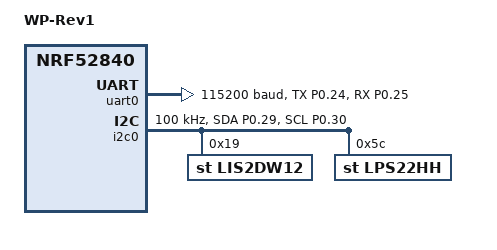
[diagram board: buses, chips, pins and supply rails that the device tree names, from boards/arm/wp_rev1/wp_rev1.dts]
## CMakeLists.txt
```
# SPDX-License-Identifier: Apache-2.0

cmake_minimum_required(VERSION 3.20.0)
find_package(Zephyr REQUIRED HINTS $ENV{ZEPHYR_BASE})
project(beacon)

target_sources(app PRIVATE src/main.c src/app_fram.c src/app_encryption.c src/app_accel.c src/app_temp_pressure.c)
```

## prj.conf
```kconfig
CONFIG_SERIAL=n
CONFIG_CONSOLE=n
CONFIG_UART_CONSOLE=n
CONFIG_USE_SEGGER_RTT=n
CONFIG_BT=y
CONFIG_BT_HCI=y
CONFIG_BT_CTLR=y
CONFIG_BT_CTLR_TX_PWR_PLUS_8=y
CONFIG_BT_DEBUG_LOG=n
CONFIG_BT_DEVICE_NAME="WePower"
CONFIG_CLOCK_CONTROL_NRF_K32SRC_RC=y
CONFIG_CLOCK_CONTROL_NRF_K32SRC_XTAL=n
#CONFIG_BOARD_ENABLE_DCDC=y
# From Nordic to disable Crypto RNG
CONFIG_HW_CC3XX=n
CONFIG_ENTROPY_CC3XX=n
CONFIG_ENTROPY_NRF5_RNG=y
CONFIG_CC3XX_BACKEND=n
# Software Crypto with Mbed
CONFIG_MBEDTLS=y
CONFIG_MBEDTLS_BUILTIN=y
CONFIG_MBEDTLS_HEAP_SIZE=512
CONFIG_MBEDTLS_CIPHER_CCM_ENABLED=y
CONFIG_MBEDTLS_CIPHER_GCM_ENABLED=y
CONFIG_CRYPTO=y
CONFIG_CRYPTO_MBEDTLS_SHIM=y
# GPIO
CONFIG_GPIO=y
# I2C
CONFIG_I2C=y
CONFIG_I2C_NRFX=y
CONFIG_NRFX_TWIM0=y
CONFIG_SENSOR=y
CONFIG_LIS2DW12=y
CONFIG_LPS22HH=y
CONFIG_LPS22HH_TRIGGER_NONE=n
CONFIG_CBPRINTF_FP_SUPPORT=y
```

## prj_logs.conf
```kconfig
CONFIG_SERIAL=y
CONFIG_CONSOLE=y
CONFIG_UART_CONSOLE=y
CONFIG_RTT_CONSOLE=n
CONFIG_USE_SEGGER_RTT=n
CONFIG_LOG=y
CONFIG_STDOUT_CONSOLE=y
CONFIG_LOG_MODE_DEFERRED=y
CONFIG_BT=y
CONFIG_BT_HCI=y
CONFIG_BT_CTLR=y
CONFIG_BT_CTLR_TX_PWR_PLUS_8=y
CONFIG_BT_DEBUG_LOG=y
CONFIG_BT_DEVICE_NAME="WePower"
CONFIG_CLOCK_CONTROL_NRF_K32SRC_RC=y
CONFIG_CLOCK_CONTROL_NRF_K32SRC_XTAL=n
#CONFIG_BOARD_ENABLE_DCDC=y
# From Nordic to disable Crypto RNG
CONFIG_HW_CC3XX=n
CONFIG_ENTROPY_CC3XX=n
CONFIG_ENTROPY_NRF5_RNG=y
CONFIG_CC3XX_BACKEND=n
# Software Crypto with Mbed
CONFIG_MBEDTLS=y
CONFIG_MBEDTLS_BUILTIN=y
CONFIG_MBEDTLS_HEAP_SIZE=512
CONFIG_MBEDTLS_CIPHER_CCM_ENABLED=y
# CONFIG_MBEDTLS_CIPHER_GCM_ENABLED=y
CONFIG_CRYPTO=y
CONFIG_CRYPTO_MBEDTLS_SHIM=y
# GPIO
CONFIG_GPIO=y
# I2C
CONFIG_I2C=y
CONFIG_I2C_NRFX=y
CONFIG_NRFX_TWIM0=y
CONFIG_I2C_LOG_LEVEL_DBG=y
CONFIG_SENSOR=y
CONFIG_LIS2DW12=y
CONFIG_LPS22HH=y
CONFIG_LPS22HH_TRIGGER_NONE=n
CONFIG_CBPRINTF_FP_SUPPORT=y
```

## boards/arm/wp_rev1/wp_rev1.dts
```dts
// Copyright (c) 2022 Nordic Semiconductor ASA
// SPDX-License-Identifier: Apache-2.0

/dts-v1/;
#include <nordic/nrf52840_qiaa.dtsi>

/ {
	model = "WP-Rev1";
	compatible = "nordic,wepower,wp-rev1";

	chosen {
        zephyr,console = &uart0;
		zephyr,shell-uart = &uart0;
		zephyr,uart-mcumgr = &uart0;
		zephyr,bt-mon-uart = &uart0;
		zephyr,bt-c2h-uart = &uart0;
		zephyr,sram = &sram0;
		zephyr,flash = &flash0;
		zephyr,code-partition = &slot0_partition;
        zephyr,entropy = &rng;
        zephyr,i2c = &i2c0;
	};
};

&pinctrl {
	uart0_default: uart0_default {
		group1 {
			psels = <NRF_PSEL(UART_TX, 0, 24)>, <NRF_PSEL(UART_RX, 0, 25)>;
		};
	};

	uart0_sleep: uart0_sleep {
		group1 {
			psels = <NRF_PSEL(UART_TX, 0, 24)>, <NRF_PSEL(UART_RX, 0, 25)>;
			low-power-enable;
		};
	};

	i2c0_default: i2c0_default {
		group1 {
            psels = <NRF_PSEL(TWIM_SDA, 0, 29)>, <NRF_PSEL(TWIM_SCL, 0, 30)>;
		};
	};

	i2c0_sleep: i2c0_sleep {
		group1 {
            psels = <NRF_PSEL(TWIM_SDA, 0, 29)>, <NRF_PSEL(TWIM_SCL, 0, 30)>;
		};
	};
};

&flash0 {
	partitions {
		compatible = "fixed-partitions";
		#address-cells = <1>;
		#size-cells = <1>;

		boot_partition: partition@0 {
			label = "mcuboot";
			reg = <0x00000000 0x0000C000>;
		};
		slot0_partition: partition@c000 {
			label = "image-0";
			reg = <0x0000C000 0x00067000>;
		};
		slot1_partition: partition@73000 {
			label = "image-1";
			reg = <0x00073000 0x00067000>;
		};
		scratch_partition: partition@da000 {
			label = "image-scratch";
			reg = <0x000da000 0x0001e000>;
		};

		/*
		 * The flash starting at 0x000f8000 and ending at
		 * 0x000fffff is reserved for use by the application.
		 */

		/*
		 * Storage partition will be used by FCB/LittleFS/NVS
		 * if enabled.
		 */
		storage_partition: partition@f8000 {
			label = "storage";
			reg = <0x000f8000 0x00008000>;
		};
	};
};

&adc {
	status = "disabled";
};

&gpiote {
	status = "okay";
};

&gpio0 {
	status = "okay";
};

&gpio1 {
	status = "okay";
};

&uart0 {
	compatible = "nordic,nrf-uarte";
	status = "okay";
	current-speed = <115200>;
	pinctrl-0 = <&uart0_default>;
	pinctrl-1 = <&uart0_sleep>;
	pinctrl-names = "default", "sleep";
};

&i2c0 {
	compatible = "nordic,nrf-twim";
	status = "okay";
    clock-frequency = <I2C_BITRATE_STANDARD>;
	pinctrl-0 = <&i2c0_default>;
	pinctrl-1 = <&i2c0_sleep>;
	pinctrl-names = "default", "sleep";

    accel: lis2dw12@19 {
        compatible = "st,lis2dw12";
        reg = <0x19>;
        status = "okay";
        label = "LIS2DW12";
    };

    temp_pressure: st_lps22hh@5c {
        compatible = "st,lps22hh";
        reg = <0x5c>;
        status = "okay";
        label = "LPS22HH";
    };
};
```

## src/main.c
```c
/* main.c - Application main entry point */

/*
 * Copyright (c) 2015-2016 Intel Corporation
 *
 * SPDX-License-Identifier: Apache-2.0
 */

#include <zephyr/kernel.h>
#include <zephyr/device.h>
#include <zephyr/devicetree.h>
#include <zephyr/drivers/sensor.h>
#include <zephyr/types.h>
#include <zephyr/logging/log.h>
#include <stdio.h>
#include <stddef.h>
#include <string.h>
#include <zephyr/sys/printk.h>
#include <zephyr/sys/util.h>
#include <zephyr/sys/util_macro.h>
#include <zephyr/drivers/i2c.h>
#include <zephyr/bluetooth/bluetooth.h>
#include <zephyr/bluetooth/hci.h>
#include <stdlib.h>
#include <math.h>

#include "app_types.h"
#include "app_fram.h"
#include "app_encryption.h"
#include "app_accel.h"
#include "app_temp_pressure.h"


#define DEVICE_NAME CONFIG_BT_DEVICE_NAME
#define DEVICE_NAME_LEN (sizeof(DEVICE_NAME) - 1)

#define MANUF_DATA_CUSTOM_START_INDEX 2
#define PAYLOAD_DEVICE_ID_INDEX 18
#define PAYLOAD_STATUS_BYTE_INDEX 20
#define PAYLOAD_RFU_BYTE_INDEX 21
#define PAYLOAD_ENCRYPTION_STATUS_ENC 0
#define PAYLOAD_ENCRYPTION_STATUS_CLEAR 1

static we_power_data_ble_adv_t we_power_data;
static struct bt_data we_power_adv_data;

#define DEVICE_ID 3
static u16_u8_t device_id;

//                                           |--------- ENCRYPTED ENCRYPTED ENCRYPTED ENCRYPTED ENCRYPTED ENCRYPTED ENCRYPTED ------------ |  id    id   status RFU
static uint8_t manf_data[22] = { 0x50, 0x57, 0x00, 0x00, 0x00, 0x00, 0x00, 0x00, 0x00, 0x00, 0x00, 0x00, 0x00, 0x00, 0x00, 0x00, 0x00, 0x00, 0x00, 0x00, 0x00, 0x4F};
static struct bt_data ad[] = {
	BT_DATA_BYTES(BT_DATA_FLAGS, BT_LE_AD_NO_BREDR),
    BT_DATA(BT_DATA_MANUFACTURER_DATA, manf_data, 22),
	BT_DATA_BYTES(BT_DATA_UUID16_ALL, 0x50, 0x57)
};
/* Set Scan Response data */
static const struct bt_data sd[] = {
	BT_DATA(BT_DATA_NAME_COMPLETE, DEVICE_NAME, DEVICE_NAME_LEN),
};
static struct bt_le_adv_param ble_adv_data;

static void bt_ready(int err)
{
	//char addr_s[BT_ADDR_LE_STR_LEN];
	//bt_addr_le_t addr = {0};

    memcpy(&ble_adv_data, BT_LE_ADV_NCONN_IDENTITY, sizeof(ble_adv_data));
    ble_adv_data.interval_min = 0x20; // 20ms
    ble_adv_data.interval_max = 0x22; // 30ms

	if (err) {
		printk("Bluetooth init failed (err %d)\n", err);
		return;
	}

	printk("Bluetooth initialized\n");

	/* Start advertising */
	err = bt_le_adv_start(&ble_adv_data, ad, ARRAY_SIZE(ad),
			      sd, ARRAY_SIZE(sd));
	if (err) {
		printk("Advertising failed to start (err %d)\n", err);
		return;
	}

	/* For connectable advertising you would use
	 * bt_le_oob_get_local().  For non-connectable non-identity
	 * advertising an non-resolvable private address is used;
	 * there is no API to retrieve that.
	 */

	// bt_id_get(&addr, &count);
	// bt_addr_le_to_str(&addr, addr_s, sizeof(addr_s));

	// printk("Beacon started, advertising as %s\n", addr_s);
}

void main(void)
{
    printk("Starting WePower gemns BLE Beacon Demo!\n"); 

    // Set the ID, we do this in the clear AND encrypted, for verification
    device_id.u16 = DEVICE_ID;
    we_power_data.data_fields.id = device_id;

    // Get the counter out of fram and increment it
    uint32_t fram_counter = 0;
    if(app_fram_service(&fram_counter) == FRAM_SUCCESS)
    {
        // Success! Add it to the payload
        we_power_data.data_fields.fram_counter.u32 = fram_counter;
    }
    else
    {
         we_power_data.data_fields.fram_counter.u32 = 0xFFFFFFFF;
    }
    
    // Get the accelerometer data
    static accel_data_t accel_data;
    if(app_accel_service(&accel_data) == ACCEL_SUCCESS)
    {
        // Success!
        we_power_data.data_fields.accel_x.i16 = accel_data.x_accel;
        we_power_data.data_fields.accel_y.i16 = accel_data.y_accel;
        we_power_data.data_fields.accel_z.i16 = accel_data.z_accel;
    }
    else
    {
        we_power_data.data_fields.accel_x.i16 = 0xFFFF;
        we_power_data.data_fields.accel_y.i16 = 0xFFFF;
        we_power_data.data_fields.accel_z.i16 = 0xFFFF;
    }

    // Get temp and pressure
    temp_pressure_data_t temp_pressure_data;
    if(app_temp_pressure_service(&temp_pressure_data) == TEMP_PRESSURE_SUCCESS)
    {
        we_power_data.data_fields.pressure.i16 = temp_pressure_data.pressure;
        we_power_data.data_fields.temp.i16 = temp_pressure_data.temp;
    }
    else
    {
        we_power_data.data_fields.pressure.i16 = 0xFFFF;
        we_power_data.data_fields.temp.i16 = 0xFFFF;
    }

    // Handle encryption
    static uint8_t cipher_text[DATA_SIZE_BYTES];

#define ENCRYPT
#ifdef ENCRYPT
    // Not we want to encrypt the data
    if(app_encrypt_payload(we_power_data.data_bytes, DATA_SIZE_BYTES, cipher_text, DATA_SIZE_BYTES) == ENCRYPTION_ERROR)
    {
        memcpy(cipher_text, we_power_data.data_bytes, 16);
        manf_data[PAYLOAD_STATUS_BYTE_INDEX] = PAYLOAD_ENCRYPTION_STATUS_CLEAR;
    }
    else
    {
        manf_data[PAYLOAD_STATUS_BYTE_INDEX] = PAYLOAD_ENCRYPTION_STATUS_ENC;
    }
#else
    memcpy(cipher_text, we_power_data.data_bytes, 16);
    manf_data[PAYLOAD_STATUS_BYTE_INDEX] = PAYLOAD_ENCRYPTION_STATUS_CLEAR;
#endif

    printk("Payload - Cleartext: ");
    for(int i = 0; i < DATA_SIZE_BYTES; i++)
    {
        printk("%02X ", we_power_data.data_bytes[i]);
    }
    printk("\n");

    printk("Payload - Encrypted: ");
    for(int i = 0; i < DATA_SIZE_BYTES; i++)
    {
        printk("%02X ", cipher_text[i]);
    }
    printk("\n");

    // Build the BLE adv data
    memcpy(&manf_data[MANUF_DATA_CUSTOM_START_INDEX], cipher_text, DATA_SIZE_BYTES);
    memcpy(&manf_data[PAYLOAD_DEVICE_ID_INDEX], device_id.u8, 2);

    we_power_adv_data.type = BT_DATA_SVC_DATA16;
    we_power_adv_data.data = manf_data;
    we_power_adv_data.data_len = sizeof(manf_data);

    // Init and run the BLE
	int err = bt_enable(bt_ready);
	if (err) {
		printk("Bluetooth init failed (err %d)\n", err);
	}
    printk("BLE Running...\n");  

    //k_msleep(400);
    //bt_le_adv_stop();
}
```

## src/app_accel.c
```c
/** @file app_accel.c
* 
* @brief Accelerometer interface
*
* @par       
* COPYRIGHT NOTICE: (c) 2022 Ovyl. All rights reserved.
*/

#include <zephyr/kernel.h>
#include <zephyr/device.h>
#include <zephyr/devicetree.h>
#include <zephyr/drivers/sensor.h>
#include <zephyr/types.h>
#include <zephyr/logging/log.h>
#include <stdio.h>
#include <stddef.h>
#include <string.h>
#include <zephyr/sys/printk.h>
#include <zephyr/sys/util.h>
#include <zephyr/sys/util_macro.h>
#include <zephyr/drivers/i2c.h>

#include "app_accel.h"
#include "app_types.h"

static const enum sensor_channel channels[] = {
	SENSOR_CHAN_ACCEL_X,
	SENSOR_CHAN_ACCEL_Y,
	SENSOR_CHAN_ACCEL_Z,
};

int app_accel_service(accel_data_t *accel_data)
{
    const struct device *const accel_dev = DEVICE_DT_GET(DT_NODELABEL(accel));
    if (!device_is_ready(accel_dev)) {
		printf("Device %s is not ready\n", accel_dev->name);
		return ACCEL_ERROR;
	}
    printf("I2C Accel Success!\n");

    int ret;
	struct sensor_value accel[3];
    
	ret = sensor_sample_fetch(accel_dev);
	if (ret < 0) {
		printk("%s: sensor_sample_fetch() failed: %d\n", accel_dev->name, ret);
		return ret;
	}

	for (size_t i = 0; i < ARRAY_SIZE(channels); i++) {
		ret = sensor_channel_get(accel_dev, channels[i], &accel[i]);
		if (ret < 0) {
			printk("%s: sensor_channel_get(%c) failed: %d\n", accel_dev->name, 'X' + i, ret);
			return ret;
		}
	}

    printk("[m/s^2]: (%12.6f, %12.6f, %12.6f)\n", sensor_value_to_double(&accel[0]), sensor_value_to_double(&accel[1]), sensor_value_to_double(&accel[2]));

    float val_x = sensor_value_to_double(&accel[0]);
    float val_y = sensor_value_to_double(&accel[1]);
    float val_z = sensor_value_to_double(&accel[2]);
    int16_t val_x_cast = (int16_t)(val_x*1000);
    int16_t val_y_cast = (int16_t)(val_y*1000);
    int16_t val_z_cast = (int16_t)(val_z*1000);

    printk("x: %i, y: %i, z: %i\n", val_x_cast, val_y_cast, val_z_cast);

    accel_data->x_accel = val_x_cast;
    accel_data->y_accel = val_y_cast;
    accel_data->z_accel = val_z_cast;

    return ACCEL_SUCCESS;
}
```

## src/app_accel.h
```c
/** @file app_accell.h
* 
* @brief Accelerometer interface
*
* @par       
* COPYRIGHT NOTICE: (c) 2022 Ovyl.  All rights reserved.
*/ 

#ifndef APP_ACCEL_H
#define APP_ACCEL_H

#include <stdint.h>

#define ACCEL_ERROR -1
#define ACCEL_SUCCESS 0

typedef struct 
{
    int16_t x_accel;
    int16_t y_accel;
    int16_t z_accel;
} accel_data_t;

int app_accel_service(accel_data_t *accel_data);

#endif /* APP_FRAM_H */
```

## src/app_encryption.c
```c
/** @file app_encryption.c
* 
* @brief Encryption interface
*
* @par       
* COPYRIGHT NOTICE: (c) 2022 Ovyl. All rights reserved.
*/

#include <zephyr/kernel.h>
#include <zephyr/device.h>
#include <zephyr/devicetree.h>
#include <zephyr/types.h>
#include <zephyr/logging/log.h>
#include <stdio.h>
#include <stddef.h>
#include <string.h>
#include <zephyr/sys/printk.h>
#include <zephyr/sys/util.h>
#include <zephyr/crypto/crypto.h>

#include "app_encryption.h"

#define CRYPTO_DRV_NAME CONFIG_CRYPTO_MBEDTLS_SHIM_DRV_NAME
#define CRYPTO_DEV_COMPAT nordic_nrf_ecb

uint32_t cap_flags;

// static void print_buffer_comparison(const uint8_t *wanted_result,
// 				    uint8_t *result, size_t length)
// {
// 	int i, j;

// 	printk("Was waiting for: \n");

// 	for (i = 0, j = 1; i < length; i++, j++) {
// 		printk("0x%02x ", wanted_result[i]);

// 		if (j == 10) {
// 			printk("\n");
// 			j = 0;
// 		}
// 	}

// 	printk("\n But got:\n");

// 	for (i = 0, j = 1; i < length; i++, j++) {
// 		printk("0x%02x ", result[i]);

// 		if (j == 10) {
// 			printk("\n");
// 			j = 0;
// 		}
// 	}

// 	printk("\n");
// }

void ecb_mode(const struct device *dev)
{
	/* from FIPS-197 test vectors */


	
	// struct cipher_pkt decrypt = {
	// 	.in_buf = encrypt.out_buf,
	// 	.in_len = sizeof(encrypted),
	// 	.out_buf = decrypted,
	// 	.out_buf_max = sizeof(decrypted),
	// };

	

	

	// if (cipher_begin_session(dev, &ini, CRYPTO_CIPHER_ALGO_AES,
	// 			 CRYPTO_CIPHER_MODE_ECB,
	// 			 CRYPTO_CIPHER_OP_DECRYPT)) {
	// 	return;
	// }

	// if (cipher_block_op(&ini, &decrypt)) {
	// 	printk("ECB mode DECRYPT - Failed");
	// 	goto out;
	// }

	// printk("Output length (decryption): %d", decrypt.out_len);

	// if (memcmp(decrypt.out_buf, ecb_plaintext, sizeof(ecb_plaintext))) {
	// 	printk("ECB mode DECRYPT - Mismatch between plaintext and "
	// 		    "decrypted cipher text");
	// 	print_buffer_comparison(ecb_plaintext, decrypt.out_buf,
	// 				sizeof(ecb_plaintext));
	// 	goto out;
	// }

	// printk("ECB mode DECRYPT - Match");

}

int validate_hw_compatibility(const struct device *dev)
{
	uint32_t flags = 0U;

	flags = crypto_query_hwcaps(dev);
	if ((flags & CAP_RAW_KEY) == 0U) {
		printk("Please provision the key separately "
			"as the module doesnt support a raw key");
		return -1;
	}

	if ((flags & CAP_SYNC_OPS) == 0U) {
		printk("The app assumes sync semantics. "
		  "Please rewrite the app accordingly before proceeding");
		return -1;
	}

	if ((flags & CAP_SEPARATE_IO_BUFS) == 0U) {
		printk("The app assumes distinct IO buffers. "
		"Please rewrite the app accordingly before proceeding");
		return -1;
	}

	cap_flags = CAP_RAW_KEY | CAP_SYNC_OPS | CAP_SEPARATE_IO_BUFS;

	return 0;

}

int app_encrypt_payload(uint8_t *cleartext, uint8_t cleartext_len, uint8_t *encrypted, uint8_t encrypted_len)
{
    const struct device *dev_crypto = device_get_binding(CRYPTO_DRV_NAME);

	if (!dev_crypto) {
		printk("%s crypto device not found", CRYPTO_DRV_NAME);
		return ENCRYPTION_ERROR;
	}

    if (validate_hw_compatibility(dev_crypto)) {
		printk("Incompatible h/w");
		return ENCRYPTION_ERROR;
	}

    printk("Crypto Init Success!\n");

    uint8_t ecb_key[16] = {
		0x00, 0x01, 0x02, 0x03, 0x04, 0x05, 0x06, 0x07,
		0x08, 0x09, 0x0A, 0x0B, 0x0C, 0x0D, 0x0E, 0x0F
	};

	struct cipher_ctx ini = {
		.keylen = sizeof(ecb_key),
		.key.bit_stream = ecb_key,
		.flags = cap_flags,
	};
	struct cipher_pkt encrypt = {
		.in_buf = cleartext,
		.in_len = cleartext_len,
		.out_buf_max = encrypted_len,
		.out_buf = encrypted,
	};

    if (cipher_begin_session(dev_crypto, &ini, CRYPTO_CIPHER_ALGO_AES,
				 CRYPTO_CIPHER_MODE_ECB,
				 CRYPTO_CIPHER_OP_ENCRYPT)) {
		return ENCRYPTION_ERROR;
	}

	if (cipher_block_op(&ini, &encrypt)) {
		printk("ERROR: ECB mode ENCRYPT - Failed\n");
		goto out;
	}

    printk("Output length (encryption): %d\n", encrypt.out_len);

	if (memcmp(encrypt.out_buf, encrypted, encrypted_len)) {
		printk("ERROR: ECB mode ENCRYPT - Mismatch between expected and "
			    "returned cipher text\n");
		goto out;
	}

	printk("ECB mode ENCRYPT - Match\n");
    cipher_free_session(dev_crypto, &ini);
    return ENCRYPTION_SUCCESS;

out:
	cipher_free_session(dev_crypto, &ini);
    return ENCRYPTION_ERROR;
}
```

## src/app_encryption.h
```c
/** @file app_encryption.h
* 
* @brief Encryption interface
*
* @par       
* COPYRIGHT NOTICE: (c) 2022 Ovyl.  All rights reserved.
*/ 

#ifndef APP_ENCRYPTION_H
#define APP_ENCRYPTION_H

#include <stdint.h>

#define ENCRYPTION_ERROR -1
#define ENCRYPTION_SUCCESS 0
int app_encrypt_payload(uint8_t *cleartext, uint8_t cleartext_len, uint8_t *encrypted, uint8_t encrypted_len);

#endif /* APP_ENCRYPTION_H */
```

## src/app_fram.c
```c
/** @file fram.c
* 
* @brief FRAM interface
*
* @par       
* COPYRIGHT NOTICE: (c) 2022 Ovyl. All rights reserved.
*/

#include <zephyr/kernel.h>
#include <zephyr/device.h>
#include <zephyr/devicetree.h>
#include <zephyr/drivers/sensor.h>
#include <zephyr/types.h>
#include <zephyr/logging/log.h>
#include <stdio.h>
#include <stddef.h>
#include <string.h>
#include <zephyr/sys/printk.h>
#include <zephyr/sys/util.h>
#include <zephyr/drivers/i2c.h>

#include "app_fram.h"
#include "app_types.h"

// FRAM Defines
#define FRAM_COUNTER_ADDR 0x00
#define FRAM_COUNTER_NUM_BYTES 4
#define FRAM_I2C_ADDR 0x50

int i2c_write_bytes(const struct device *i2c_dev, uint16_t addr, uint8_t *data, uint32_t num_bytes)
{
	uint8_t wr_addr[2];
	struct i2c_msg msgs[2];

	/* FRAM address */
	wr_addr[0] = (addr >> 8) & 0xFF;
	wr_addr[1] = addr & 0xFF;
    
	/* Setup I2C messages */

	/* Send the address to write to */
	msgs[0].buf = wr_addr;
	msgs[0].len = 2U;
	msgs[0].flags = I2C_MSG_WRITE;

	/* Data to be written, and STOP after this. */
	msgs[1].buf = data;
	msgs[1].len = num_bytes;
	msgs[1].flags = I2C_MSG_WRITE | I2C_MSG_STOP;

	return i2c_transfer(i2c_dev, &msgs[0], 2, FRAM_I2C_ADDR);
}

int i2c_read_bytes(const struct device *i2c_dev, uint16_t addr, uint8_t *data, uint32_t num_bytes)
{
	uint8_t wr_addr[2];
	struct i2c_msg msgs[2];

	/* Now try to read back from FRAM */

	/* FRAM address */
	wr_addr[0] = (addr >> 8) & 0xFF;
	wr_addr[1] = addr & 0xFF;

	/* Setup I2C messages */

	/* Send the address to read from */
	msgs[0].buf = wr_addr;
	msgs[0].len = 2U;
	msgs[0].flags = I2C_MSG_WRITE;

	/* Read from device. STOP after this. */
	msgs[1].buf = data;
	msgs[1].len = num_bytes;
	msgs[1].flags = I2C_MSG_READ | I2C_MSG_STOP;

	return i2c_transfer(i2c_dev, &msgs[0], 2, FRAM_I2C_ADDR);
}

int app_fram_service(uint32_t *counter)
{
    const struct device *const i2c_dev = DEVICE_DT_GET(DT_NODELABEL(i2c0));
    uint32_t dev_config = I2C_SPEED_SET(I2C_SPEED_STANDARD) | I2C_MODE_CONTROLLER;
    int res = i2c_configure(i2c_dev, dev_config);
    if(res != 0)
    {
        return FRAM_ERROR;
    }
	int ret;
    u32_u8_t fram_data;
    fram_data.u32 = 0;

	if (!device_is_ready(i2c_dev)) {
		printk("FRAM: I2C Device is not ready.\n");
		return FRAM_ERROR;
	}
    printk("FRAM I2C Init Success!\n");

    // THIS WILL CLEAR THE DEVICE FRAM //
    // ret = i2c_write_bytes(i2c_dev, FRAM_COUNTER_ADDR, &fram_data.u8[0], FRAM_COUNTER_NUM_BYTES);
	// if (ret) {
	// 	printk("Error writing to FRAM! error code (%d)\n", ret);
	// 	return;
	// } else {
	// 	printk("Wrote %u to address 0x00.\n", fram_data.u32);
	// }
    // END RESET //

    // Read the 4 data bytes at this address
	ret = i2c_read_bytes(i2c_dev, FRAM_COUNTER_ADDR, &fram_data.u8[0], FRAM_COUNTER_NUM_BYTES);
	if (ret) {
		printk("Error reading from FRAM! error code (%d)\n", ret);
		return FRAM_ERROR;
	} else {
		printk("Read %u (%08X)from address %u.\n", fram_data.u32, fram_data.u32, FRAM_COUNTER_ADDR);
	}

    // Increment count
    fram_data.u32++;

	ret = i2c_write_bytes(i2c_dev, FRAM_COUNTER_ADDR, &fram_data.u8[0], FRAM_COUNTER_NUM_BYTES);
	if (ret) {
		printk("Error writing to FRAM! error code (%d)\n", ret);
		return FRAM_ERROR;
	} else {
		printk("Wrote %u (%08X) to address %u.\n", fram_data.u32, fram_data.u32, FRAM_COUNTER_ADDR);
	}

    *counter = fram_data.u32;

    return FRAM_SUCCESS;
}
```

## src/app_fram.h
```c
/** @file fram.h
* 
* @brief FRAM interface
*
* @par       
* COPYRIGHT NOTICE: (c) 2022 Ovyl.  All rights reserved.
*/ 

#ifndef APP_FRAM_H
#define APP_FRAM_H

#define FRAM_ERROR -1
#define FRAM_SUCCESS 0

int app_fram_service(uint32_t *counter);

#endif /* APP_FRAM_H */
```

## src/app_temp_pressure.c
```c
/** @file app_accel.c
* 
* @brief Accelerometer interface
*
* @par       
* COPYRIGHT NOTICE: (c) 2022 Ovyl. All rights reserved.
*/

#include <zephyr/kernel.h>
#include <zephyr/device.h>
#include <zephyr/devicetree.h>
#include <zephyr/drivers/sensor.h>
#include <zephyr/types.h>
#include <zephyr/logging/log.h>
#include <stdio.h>
#include <stddef.h>
#include <string.h>
#include <zephyr/sys/printk.h>
#include <zephyr/sys/util.h>
#include <zephyr/sys/util_macro.h>
#include <zephyr/drivers/i2c.h>

#include "app_temp_pressure.h"
#include "app_types.h"

static void lps22hh_handler(const struct device *dev, const struct sensor_trigger *trig)
{
	//process_sample(dev);
}

//#define TESTING
#ifdef TESTING

static void process_sample(const struct device *dev)
{
	static unsigned int obs;
	struct sensor_value pressure, temp;

	if (sensor_sample_fetch(dev) < 0) {
		printf("Sensor sample update error\n");
		return;
	}

	if (sensor_channel_get(dev, SENSOR_CHAN_PRESS, &pressure) < 0) {
		printf("Cannot read LPS22HH pressure channel\n");
		return;
	}

	if (sensor_channel_get(dev, SENSOR_CHAN_AMBIENT_TEMP, &temp) < 0) {
		printf("Cannot read LPS22HH temperature channel\n");
		return;
	}

	++obs;
	printf("Observation: %u\n", obs);

	/* display pressure */
	printf("Pressure: %.3f kPa\n", sensor_value_to_double(&pressure));

	/* display temperature */
	printf("Temperature: %.2f C\n", sensor_value_to_double(&temp));

}

void testing(void)
{
    const struct device *const dev = DEVICE_DT_GET_ONE(st_lps22hh);

	if (!device_is_ready(dev)) {
		printk("sensor: device not ready.\n");
		return;
	}

	if (IS_ENABLED(CONFIG_LPS22HH_TRIGGER)) {
		struct sensor_value attr = {
			.val1 = 1,
		};
		struct sensor_trigger trig = {
			.type = SENSOR_TRIG_DATA_READY,
			.chan = SENSOR_CHAN_ALL,
		};

		if (sensor_attr_set(dev, SENSOR_CHAN_ALL,
				    SENSOR_ATTR_SAMPLING_FREQUENCY, &attr) < 0) {
			printf("Cannot configure sampling rate\n");
			return;
		}
		if (sensor_trigger_set(dev, &trig, lps22hh_handler) < 0) {
			printf("Cannot configure trigger\n");
			return;
		}
		printk("Configured for triggered collection at %u Hz\n",
		       attr.val1);
	}

    process_sample(dev);

	while (!IS_ENABLED(CONFIG_LPS22HH_TRIGGER)) {
		process_sample(dev);
		k_sleep(K_MSEC(2000));
	}
    k_sleep(K_FOREVER);

}

#endif

int app_temp_pressure_service(temp_pressure_data_t *temp_pressure_data)
{
#ifdef TESTING
    testing();
#else 
	const struct device *const dev = DEVICE_DT_GET_ONE(st_lps22hh);
	struct sensor_value pressure, temp;

    if (IS_ENABLED(CONFIG_LPS22HH_TRIGGER)) {
		struct sensor_value attr = {
			.val1 = 1,
		};
		struct sensor_trigger trig = {
			.type = SENSOR_TRIG_DATA_READY,
			.chan = SENSOR_CHAN_ALL,
		};

		if (sensor_attr_set(dev, SENSOR_CHAN_ALL,
				    SENSOR_ATTR_SAMPLING_FREQUENCY, &attr) < 0) {
			printf("Cannot configure sampling rate\n");
			return TEMP_PRESSURE_ERROR;
		}
		if (sensor_trigger_set(dev, &trig, lps22hh_handler) < 0) {
			printf("Cannot configure trigger\n");
			return TEMP_PRESSURE_ERROR;
		}
		printk("Configured for triggered collection at %u Hz\n",
		       attr.val1);
	}

	if (!device_is_ready(dev)) {
		printk("sensor: device not ready.\n");
		return TEMP_PRESSURE_ERROR;
	}

    printk("Temp & Pressure Init Success!\n");

    k_msleep(10);

	if (sensor_sample_fetch(dev) < 0) {
		printk("Sensor sample update error\n");
		return TEMP_PRESSURE_ERROR;
	}

    //k_msleep(10);

	if (sensor_channel_get(dev, SENSOR_CHAN_PRESS, &pressure) < 0) {
		printk("Cannot read LPS22HH pressure channel\n");
		return TEMP_PRESSURE_ERROR;
	}

	if (sensor_channel_get(dev, SENSOR_CHAN_AMBIENT_TEMP, &temp) < 0) {
		printk("Cannot read LPS22HH temperature channel\n");
		return TEMP_PRESSURE_ERROR;
	}

	/* display pressure */
	printk("Pressure: %.3f kPa\n", sensor_value_to_double(&pressure));
	printk("Temperature: %.2f C\n", sensor_value_to_double(&temp));

    float pressure_f =  sensor_value_to_double(&pressure);
    float temp_f = sensor_value_to_double(&temp);
    int16_t pressure_cast = (int16_t)(pressure_f*100);
    int16_t temp_cast = (int16_t)(temp_f*100);
    temp_pressure_data->pressure = pressure_cast;
    temp_pressure_data->temp = temp_cast;

    printk("Pressure Casted: %i kPa\n",pressure_cast);
	printk("Temperature Casted: %i C\n", temp_cast);
#endif
    return TEMP_PRESSURE_SUCCESS;

}
```

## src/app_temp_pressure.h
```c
/** @file app_temp_pressure.h
* 
* @brief Temp and Pressure interface
*
* @par       
* COPYRIGHT NOTICE: (c) 2022 Ovyl.  All rights reserved.
*/ 

#ifndef APP_TEMP_PRESSURE_H
#define APP_TEMP_PRESSURE_H

#include <stdint.h>

#define TEMP_PRESSURE_ERROR -1
#define TEMP_PRESSURE_SUCCESS 0

typedef struct 
{
    int16_t temp;
    int16_t pressure;
} temp_pressure_data_t;

int app_temp_pressure_service(temp_pressure_data_t *temp_pressure_data);

#endif /* APP_TEMP_PRESSURE_H */
```

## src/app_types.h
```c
/** @file fram.h
* 
* @brief FRAM interface
*
* @par       
* COPYRIGHT NOTICE: (c) 2022 Ovyl.  All rights reserved.
*/ 

#ifndef APP_TYPES_H
#define APP_TYPES_H

#include <stdint.h>

#define DATA_SIZE_BYTES 16

typedef union {
    uint32_t u32;
    uint8_t u8[4];
} u32_u8_t;

typedef union {
    uint16_t u16;
    uint8_t u8[2];
} u16_u8_t;

typedef union {
    int16_t i16;
    uint8_t u8[2];
} i16_u8_t;

typedef struct 
{
    u32_u8_t fram_counter;  // 4 bytes (total)
    i16_u8_t accel_x;       // 6
    i16_u8_t accel_y;       // 8
    i16_u8_t accel_z;       // 10
    i16_u8_t temp;          // 12
    i16_u8_t pressure;      // 14
    u16_u8_t id;            // 16
} we_power_data_t;

typedef union {
    we_power_data_t data_fields;
    uint8_t data_bytes[DATA_SIZE_BYTES];
} we_power_data_ble_adv_t;

#endif /* APP_FRAM_H */
```
